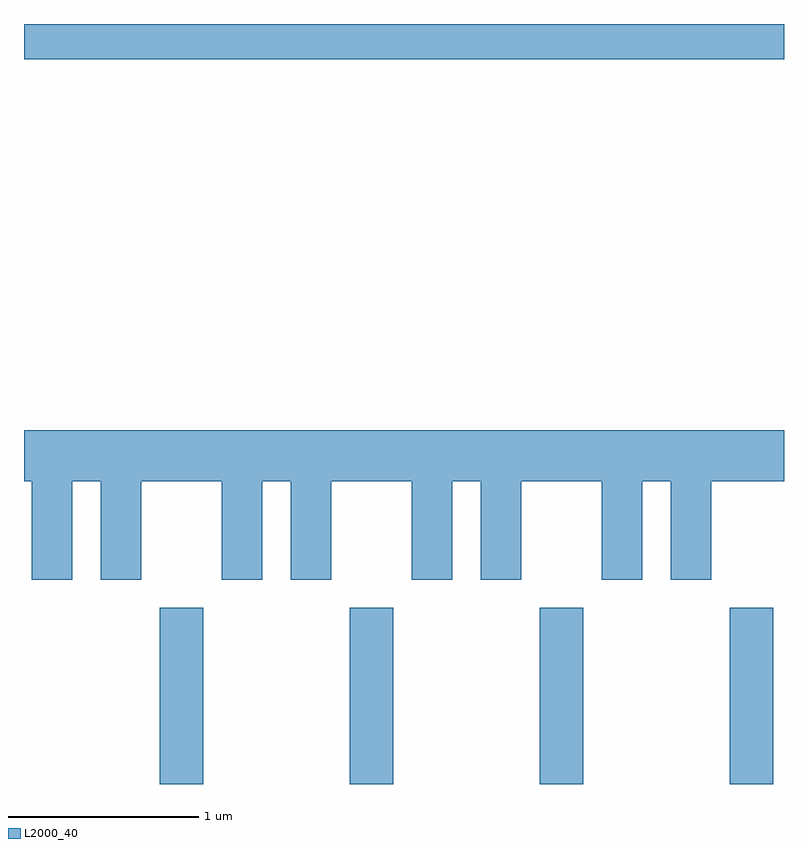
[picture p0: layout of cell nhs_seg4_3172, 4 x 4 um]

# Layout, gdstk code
import gdstk
lib = gdstk.Library(unit=1e-6, precision=1e-09)
def R(c, l, rs):  # rectangles x0, y0, x1, y1
    for r in rs: c.add(gdstk.rectangle(r[:2], r[2:], *l))
def A(c, l, x, y, w, h, nx, ny, dx, dy):  # array of equal rectangles
    R(c, l, [(x+i*dx, y+j*dy, x+i*dx+w, y+j*dy+h) for i in range(nx) for j in range(ny)])
def P(c, l, *ps):  # polygons
    for p in ps: c.add(gdstk.Polygon(p, *l))
L2000_40 = (2000, 40)

nhs_seg4_3172 = lib.new_cell('nhs_seg4_3172')
A(nhs_seg4_3172, L2000_40, 278.326, 1341.982, 0.228, 0.927, 4, 1, 1, 0)
R(nhs_seg4_3172, L2000_40, [(277.611,1345.796,281.611,1345.982)])
P(nhs_seg4_3172, L2000_40, [(277.864,1343.576),(278.016,1343.576),(278.016,1343.056),(278.229,1343.056),(278.229,1343.576),(278.651,1343.576),(278.651,1343.056),(278.864,1343.056),(278.864,1343.576),(279.016,1343.576),(279.016,1343.056),(279.229,1343.056),(279.229,1343.576),(279.651,1343.576),(279.651,1343.056),(279.864,1343.056),(279.864,1343.576),(280.016,1343.576),(280.016,1343.056),(280.229,1343.056),(280.229,1343.576),(280.651,1343.576),(280.651,1343.056),(280.864,1343.056),(280.864,1343.576),(281.016,1343.576),(281.016,1343.056),(281.229,1343.056),(281.229,1343.576),(281.611,1343.576),(281.611,1343.844),(277.611,1343.844),(277.611,1343.576),(277.651,1343.576),(277.651,1343.056),(277.864,1343.056)])

lib.write_gds('nhs_seg4_3172.gds')
